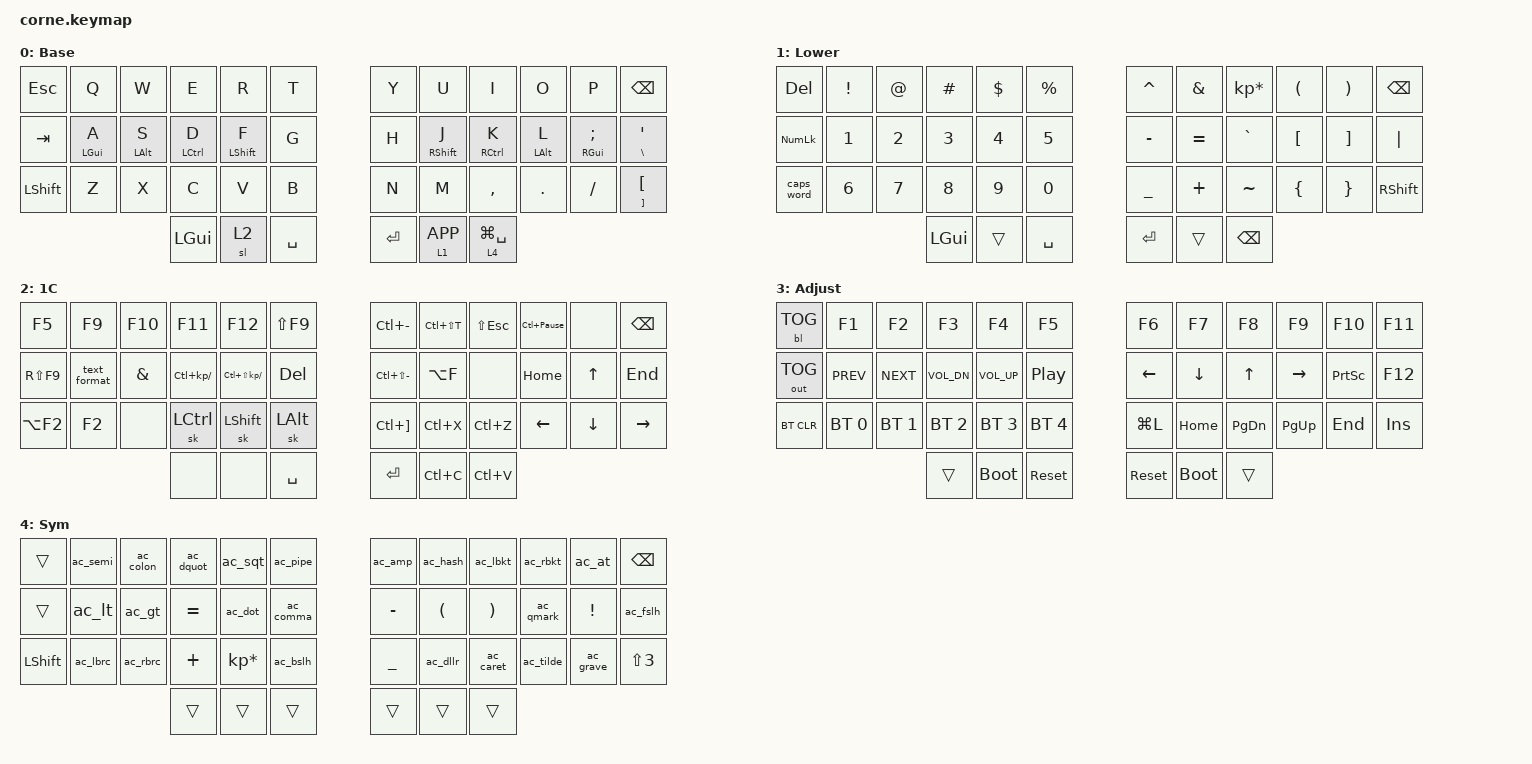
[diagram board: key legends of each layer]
/*
 * Corne 3x6+3 — раскладка Гришина К.В.
 * Основа: ZMK default keymap (Copyright (c) 2020 The ZMK Contributors, SPDX: MIT).
 * Переработано 12.10.2026: home-row mods, слой русских символов, сервисный слой.
 *
 * Слои:
 *   0 BASE   — буквы
 *   1 LOWER  — цифры и символы (обычные клавиши, зависят от раскладки ОС)
 *   2 ONEC   — горячие клавиши 1С (залипающий, левый средний большой палец)
 *   3 ADJ    — F-клавиши, медиа, BT, прошивка (комбо: оба крайних больших пальца)
 *   4 SYM    — символы для BSL, одинаковые в RU и EN (Alt-коды, аналог раскладки Чистова)
 *              (удержание правого крайнего большого пальца; тап — смена языка)
 *
 * Нумерация клавиш:
 *    0  1  2  3  4  5   |   6  7  8  9 10 11
 *   12 13 14 15 16 17   |  18 19 20 21 22 23
 *   24 25 26 27 28 29   |  30 31 32 33 34 35
 *            36 37 38   |  39 40 41
 */

#include <behaviors.dtsi>
#include <dt-bindings/zmk/backlight.h>
#include <dt-bindings/zmk/bt.h>
#include <dt-bindings/zmk/keys.h>
#include <dt-bindings/zmk/outputs.h>

/ {
    behaviors {
        tp: tap_preferred {
            compatible = "zmk,behavior-hold-tap";
            #binding-cells = <2>;
            tapping-term-ms = <220>;
            quick-tap-ms = <0>;
            flavor = "tap-preferred";
            bindings = <&kp>, <&kp>;
        };

        // Home-row mods: модификатор срабатывает только если следующая клавиша
        // на другой руке (hold-trigger-key-positions) — меньше ложных срабатываний.
        hml: homerow_mods_left {
            compatible = "zmk,behavior-hold-tap";
            #binding-cells = <2>;
            flavor = "balanced";
            tapping-term-ms = <220>;
            quick-tap-ms = <150>;
            require-prior-idle-ms = <125>;
            hold-trigger-key-positions = <6 7 8 9 10 11 18 19 20 21 22 23 30 31 32 33 34 35 36 37 38 39 40 41>;
            hold-trigger-on-release;
            bindings = <&kp>, <&kp>;
        };

        hmr: homerow_mods_right {
            compatible = "zmk,behavior-hold-tap";
            #binding-cells = <2>;
            flavor = "balanced";
            tapping-term-ms = <220>;
            quick-tap-ms = <150>;
            require-prior-idle-ms = <125>;
            hold-trigger-key-positions = <0 1 2 3 4 5 12 13 14 15 16 17 24 25 26 27 28 29 36 37 38 39 40 41>;
            hold-trigger-on-release;
            bindings = <&kp>, <&kp>;
        };
    };

    combos {
        compatible = "zmk,combos";

        // Оба крайних больших пальца — сервисный слой
        adj {
            bindings = <&mo 3>;
            key-positions = <36 41>;
            timeout-ms = <40>;
        };
    };

    macros {
        // Alt+Shift+F — форматирование в конфигураторе
        text_format: text_format {
            compatible = "zmk,behavior-macro";
            #binding-cells = <0>;
            bindings =
                <&macro_press>,
                <&kp LEFT_SHIFT &kp LEFT_ALT>,
                <&macro_tap>,
                <&kp F>,
                <&macro_release>,
                <&kp LEFT_ALT &kp LEFT_SHIFT>;
        };

        // < — Alt+060 на цифровом блоке (любая раскладка, нужен NumLock)
        ac_lt: ac_lt {
            compatible = "zmk,behavior-macro";
            #binding-cells = <0>;
            wait-ms = <10>;
            tap-ms = <10>;
            bindings = <&macro_press &kp LALT>, <&macro_tap &kp KP_N0 &kp KP_N6 &kp KP_N0>, <&macro_release &kp LALT>;
        };
        // > — Alt+062 на цифровом блоке (любая раскладка, нужен NumLock)
        ac_gt: ac_gt {
            compatible = "zmk,behavior-macro";
            #binding-cells = <0>;
            wait-ms = <10>;
            tap-ms = <10>;
            bindings = <&macro_press &kp LALT>, <&macro_tap &kp KP_N0 &kp KP_N6 &kp KP_N2>, <&macro_release &kp LALT>;
        };
        // | — Alt+124 на цифровом блоке (любая раскладка, нужен NumLock)
        ac_pipe: ac_pipe {
            compatible = "zmk,behavior-macro";
            #binding-cells = <0>;
            wait-ms = <10>;
            tap-ms = <10>;
            bindings = <&macro_press &kp LALT>, <&macro_tap &kp KP_N1 &kp KP_N2 &kp KP_N4>, <&macro_release &kp LALT>;
        };
        // & — Alt+038 на цифровом блоке (любая раскладка, нужен NumLock)
        ac_amp: ac_amp {
            compatible = "zmk,behavior-macro";
            #binding-cells = <0>;
            wait-ms = <10>;
            tap-ms = <10>;
            bindings = <&macro_press &kp LALT>, <&macro_tap &kp KP_N0 &kp KP_N3 &kp KP_N8>, <&macro_release &kp LALT>;
        };
        // # — Alt+035 на цифровом блоке (любая раскладка, нужен NumLock)
        ac_hash: ac_hash {
            compatible = "zmk,behavior-macro";
            #binding-cells = <0>;
            wait-ms = <10>;
            tap-ms = <10>;
            bindings = <&macro_press &kp LALT>, <&macro_tap &kp KP_N0 &kp KP_N3 &kp KP_N5>, <&macro_release &kp LALT>;
        };
        // [ — Alt+091 на цифровом блоке (любая раскладка, нужен NumLock)
        ac_lbkt: ac_lbkt {
            compatible = "zmk,behavior-macro";
            #binding-cells = <0>;
            wait-ms = <10>;
            tap-ms = <10>;
            bindings = <&macro_press &kp LALT>, <&macro_tap &kp KP_N0 &kp KP_N9 &kp KP_N1>, <&macro_release &kp LALT>;
        };
        // ] — Alt+093 на цифровом блоке (любая раскладка, нужен NumLock)
        ac_rbkt: ac_rbkt {
            compatible = "zmk,behavior-macro";
            #binding-cells = <0>;
            wait-ms = <10>;
            tap-ms = <10>;
            bindings = <&macro_press &kp LALT>, <&macro_tap &kp KP_N0 &kp KP_N9 &kp KP_N3>, <&macro_release &kp LALT>;
        };
        // { — Alt+123 на цифровом блоке (любая раскладка, нужен NumLock)
        ac_lbrc: ac_lbrc {
            compatible = "zmk,behavior-macro";
            #binding-cells = <0>;
            wait-ms = <10>;
            tap-ms = <10>;
            bindings = <&macro_press &kp LALT>, <&macro_tap &kp KP_N1 &kp KP_N2 &kp KP_N3>, <&macro_release &kp LALT>;
        };
        // } — Alt+125 на цифровом блоке (любая раскладка, нужен NumLock)
        ac_rbrc: ac_rbrc {
            compatible = "zmk,behavior-macro";
            #binding-cells = <0>;
            wait-ms = <10>;
            tap-ms = <10>;
            bindings = <&macro_press &kp LALT>, <&macro_tap &kp KP_N1 &kp KP_N2 &kp KP_N5>, <&macro_release &kp LALT>;
        };
        // ' — Alt+039 на цифровом блоке (любая раскладка, нужен NumLock)
        ac_sqt: ac_sqt {
            compatible = "zmk,behavior-macro";
            #binding-cells = <0>;
            wait-ms = <10>;
            tap-ms = <10>;
            bindings = <&macro_press &kp LALT>, <&macro_tap &kp KP_N0 &kp KP_N3 &kp KP_N9>, <&macro_release &kp LALT>;
        };
        // @ — Alt+064 на цифровом блоке (любая раскладка, нужен NumLock)
        ac_at: ac_at {
            compatible = "zmk,behavior-macro";
            #binding-cells = <0>;
            wait-ms = <10>;
            tap-ms = <10>;
            bindings = <&macro_press &kp LALT>, <&macro_tap &kp KP_N0 &kp KP_N6 &kp KP_N4>, <&macro_release &kp LALT>;
        };
        // $ — Alt+036 на цифровом блоке (любая раскладка, нужен NumLock)
        ac_dllr: ac_dllr {
            compatible = "zmk,behavior-macro";
            #binding-cells = <0>;
            wait-ms = <10>;
            tap-ms = <10>;
            bindings = <&macro_press &kp LALT>, <&macro_tap &kp KP_N0 &kp KP_N3 &kp KP_N6>, <&macro_release &kp LALT>;
        };
        // ^ — Alt+094 на цифровом блоке (любая раскладка, нужен NumLock)
        ac_caret: ac_caret {
            compatible = "zmk,behavior-macro";
            #binding-cells = <0>;
            wait-ms = <10>;
            tap-ms = <10>;
            bindings = <&macro_press &kp LALT>, <&macro_tap &kp KP_N0 &kp KP_N9 &kp KP_N4>, <&macro_release &kp LALT>;
        };
        // ~ — Alt+126 на цифровом блоке (любая раскладка, нужен NumLock)
        ac_tilde: ac_tilde {
            compatible = "zmk,behavior-macro";
            #binding-cells = <0>;
            wait-ms = <10>;
            tap-ms = <10>;
            bindings = <&macro_press &kp LALT>, <&macro_tap &kp KP_N1 &kp KP_N2 &kp KP_N6>, <&macro_release &kp LALT>;
        };
        // ` — Alt+096 на цифровом блоке (любая раскладка, нужен NumLock)
        ac_grave: ac_grave {
            compatible = "zmk,behavior-macro";
            #binding-cells = <0>;
            wait-ms = <10>;
            tap-ms = <10>;
            bindings = <&macro_press &kp LALT>, <&macro_tap &kp KP_N0 &kp KP_N9 &kp KP_N6>, <&macro_release &kp LALT>;
        };
        // ; — Alt+059 на цифровом блоке (любая раскладка, нужен NumLock)
        ac_semi: ac_semi {
            compatible = "zmk,behavior-macro";
            #binding-cells = <0>;
            wait-ms = <10>;
            tap-ms = <10>;
            bindings = <&macro_press &kp LALT>, <&macro_tap &kp KP_N0 &kp KP_N5 &kp KP_N9>, <&macro_release &kp LALT>;
        };
        // : — Alt+058 на цифровом блоке (любая раскладка, нужен NumLock)
        ac_colon: ac_colon {
            compatible = "zmk,behavior-macro";
            #binding-cells = <0>;
            wait-ms = <10>;
            tap-ms = <10>;
            bindings = <&macro_press &kp LALT>, <&macro_tap &kp KP_N0 &kp KP_N5 &kp KP_N8>, <&macro_release &kp LALT>;
        };
        // " — Alt+034 на цифровом блоке (любая раскладка, нужен NumLock)
        ac_dquot: ac_dquot {
            compatible = "zmk,behavior-macro";
            #binding-cells = <0>;
            wait-ms = <10>;
            tap-ms = <10>;
            bindings = <&macro_press &kp LALT>, <&macro_tap &kp KP_N0 &kp KP_N3 &kp KP_N4>, <&macro_release &kp LALT>;
        };
        // . — Alt+046 на цифровом блоке (любая раскладка, нужен NumLock)
        ac_dot: ac_dot {
            compatible = "zmk,behavior-macro";
            #binding-cells = <0>;
            wait-ms = <10>;
            tap-ms = <10>;
            bindings = <&macro_press &kp LALT>, <&macro_tap &kp KP_N0 &kp KP_N4 &kp KP_N6>, <&macro_release &kp LALT>;
        };
        // , — Alt+044 на цифровом блоке (любая раскладка, нужен NumLock)
        ac_comma: ac_comma {
            compatible = "zmk,behavior-macro";
            #binding-cells = <0>;
            wait-ms = <10>;
            tap-ms = <10>;
            bindings = <&macro_press &kp LALT>, <&macro_tap &kp KP_N0 &kp KP_N4 &kp KP_N4>, <&macro_release &kp LALT>;
        };
        // ? — Alt+063 на цифровом блоке (любая раскладка, нужен NumLock)
        ac_qmark: ac_qmark {
            compatible = "zmk,behavior-macro";
            #binding-cells = <0>;
            wait-ms = <10>;
            tap-ms = <10>;
            bindings = <&macro_press &kp LALT>, <&macro_tap &kp KP_N0 &kp KP_N6 &kp KP_N3>, <&macro_release &kp LALT>;
        };
        // / — Alt+047 на цифровом блоке (любая раскладка, нужен NumLock)
        ac_fslh: ac_fslh {
            compatible = "zmk,behavior-macro";
            #binding-cells = <0>;
            wait-ms = <10>;
            tap-ms = <10>;
            bindings = <&macro_press &kp LALT>, <&macro_tap &kp KP_N0 &kp KP_N4 &kp KP_N7>, <&macro_release &kp LALT>;
        };
        // \ — Alt+092 на цифровом блоке (любая раскладка, нужен NumLock)
        ac_bslh: ac_bslh {
            compatible = "zmk,behavior-macro";
            #binding-cells = <0>;
            wait-ms = <10>;
            tap-ms = <10>;
            bindings = <&macro_press &kp LALT>, <&macro_tap &kp KP_N0 &kp KP_N9 &kp KP_N2>, <&macro_release &kp LALT>;
        };
    };

    keymap {
        compatible = "zmk,keymap";

        default_layer {
            display-name = "Base";
            // | ESC  |  Q   |  W   |  E   |  R   |  T  |   |  Y  |  U   |  I   |  O   |  P   | BSPC     |
            // | TAB  | A/Gu | S/Al | D/Ct | F/Sh |  G  |   |  H  | J/Sh | K/Ct | L/Al | ;/Gu | '  (h:\) |
            // | SHFT |  Z   |  X   |  C   |  V   |  B  |   |  N  |  M   |  ,   |  .   |  /   | [  (h:]) |
            //                      | GUI  | 1С*  | SPC |   | RET | LWR/Menu | RUSYM/Язык |
            bindings = <
&kp ESC    &kp Q          &kp W          &kp E           &kp R           &kp T        &kp Y    &kp U                &kp I            &kp O           &kp P            &kp BSPC
&kp TAB    &hml LGUI A    &hml LALT S    &hml LCTRL D    &hml LSHFT F    &kp G        &kp H    &hmr RSHFT J         &hmr RCTRL K     &hmr LALT L     &hmr RGUI SEMI   &tp BSLH SQT
&kp LSHFT  &kp Z          &kp X          &kp C           &kp V           &kp B        &kp N    &kp M                &kp COMMA        &kp DOT         &kp FSLH         &tp RBKT LBKT
                                         &kp LGUI        &sl 2        &kp SPACE    &kp RET  &lt 1 K_APP      &lt 4 LG(SPACE)
            >;
        };

        layer_below {
            display-name = "Lower";
            // Обычные клавиши: в EN — символы как на схеме, в RU — как в русской раскладке
            // (например, & в RU даёт ?, @ даёт ", $ даёт ;).
            // | DEL  |  !  |  @  |  #  |  $  |  %  |   |  ^  |  &  |  *  |  (  |  )  | BSPC  |
            // | NUM  |  1  |  2  |  3  |  4  |  5  |   |  -  |  =  |  `  |  [  |  ]  |  \|   |
            // | CAPW |  6  |  7  |  8  |  9  |  0  |   |  _  |  +  |  ~  |  {  |  }  | RSHFT |
            //                    | GUI |     | SPC |   | RET |     | BSPC |
            bindings = <
&kp DELETE   &kp EXCL  &kp AT  &kp HASH  &kp DLLR  &kp PRCNT    &kp CARET  &kp AMPS   &kp KP_MULTIPLY  &kp LPAR  &kp RPAR  &kp BSPC
&kp KP_NUM   &kp N1    &kp N2  &kp N3    &kp N4    &kp N5       &kp MINUS  &kp EQUAL  &kp GRAVE        &kp LBKT  &kp RBKT  &kp PIPE
&caps_word   &kp N6    &kp N7  &kp N8    &kp N9    &kp N0       &kp UNDER  &kp PLUS   &kp TILDE        &kp LBRC  &kp RBRC  &kp RSHFT
                               &kp LGUI  &trans    &kp SPACE    &kp RET    &trans     &kp BSPC
            >;
        };

        layer_1c {
            display-name = "1C";
            // | F5    | F9     | F10   | F11   | F12     | S-F9 |   | C--    | C-S-T | S-Esc | C-Brk |      | BSPC |
            // | S-F9  | Формат |   &   | C-/   | C-S-/   | DEL  |   | C-S--  | A-F   |       | HOME  |  ↑   | END  |
            // | A-F2  | F2     |       | Ctrl* | Shift*  | Alt* |   | C-]    | C-X   | C-Z   |  ←    |  ↓   |  →   |
            //                          |       |  (сам)  | SPC  |   | RET    | C-C   | C-V   |
            // * — залипающие модификаторы: тап 1С, тап Ctrl, затем буква = Ctrl+буква
            bindings = <
&kp F5      &kp F9        &kp F10        &kp F11           &kp F12                &kp LS(F9)      &kp LC(MINUS)          &kp LC(LS(T))  &kp LS(ESCAPE)  &kp LC(PAUSE_BREAK)  &none           &kp BSPC
&kp RS(F9)  &text_format  &kp AMPERSAND  &kp LC(KP_SLASH)  &kp LC(LS(KP_DIVIDE))  &kp DEL         &kp LC(LS(MINUS))      &kp LA(F)      &none           &kp HOME             &kp UP_ARROW    &kp END
&kp LA(F2)  &kp F2        &none          &sk LCTRL         &sk LSHFT              &sk LALT        &kp LC(RIGHT_BRACKET)  &kp LC(X)      &kp LC(Z)       &kp LEFT             &kp DOWN_ARROW  &kp RIGHT_ARROW
                                         &none             &none                  &kp SPACE       &kp RET                &kp LC(C)      &kp LC(V)
            >;
        };

        layer_above {
            display-name = "Adjust";
            // | BL TOG | F1   | F2   | F3   | F4   | F5   |   | F6   | F7   | F8   | F9    | F10  | F11 |
            // | USB/BT | Prev | Next | Vol- | Vol+ | Play |   |  ←   |  ↓   |  ↑   |  →    | PrSc | F12 |
            // | BT CLR | BT1  | BT2  | BT3  | BT4  | BT5  |   | Lock | Home | PgDn | PgUp  | End  | Ins |
            //                 | (комбо) | BOOT | RESET |   | RESET | BOOT | (комбо) |
            // BOOT/RESET действуют на ту половину, где нажаты — поэтому продублированы.
            bindings = <
&bl BL_TOG   &kp F1        &kp F2        &kp F3        &kp F4        &kp F5          &kp F6         &kp F7        &kp F8     &kp F9     &kp F10    &kp F11
&out OUT_TOG &kp C_PREV    &kp C_NEXT    &kp C_VOL_DN  &kp C_VOL_UP  &kp C_PP        &kp LEFT       &kp DOWN      &kp UP     &kp RIGHT  &kp PSCRN  &kp F12
&bt BT_CLR   &bt BT_SEL 0  &bt BT_SEL 1  &bt BT_SEL 2  &bt BT_SEL 3  &bt BT_SEL 4    &kp LG(L)      &kp HOME      &kp PG_DN  &kp PG_UP  &kp END    &kp INS
                                         &trans        &bootloader   &sys_reset      &sys_reset     &bootloader   &trans
            >;
        };

        layer_rusym {
            display-name = "Sym";
            // Символы для BSL, одинаковые в RU и EN (Alt-коды, нужен NumLock).
            // Исключение: № — только при русской раскладке.
            // |      |  ;  |  :  |  "  |  '  |  |  |   |  &  |  #  |  [  |  ]  |  @  | BSPC |
            // |      |  <  |  >  |  =  |  .  |  ,  |   |  -  |  (  |  )  |  ?  |  !  |  /   |
            // | SHFT |  {  |  }  |  +  |  *  |  \  |   |  _  |  $  |  ^  |  ~  |  `  |  №   |
            //                    |     |     |     |   |     |     | (сам) |
            bindings = <
&trans     &ac_semi  &ac_colon  &ac_dquot  &ac_sqt          &ac_pipe     &ac_amp    &ac_hash   &ac_lbkt   &ac_rbkt   &ac_at     &kp BSPC
&trans     &ac_lt    &ac_gt     &kp EQUAL  &ac_dot          &ac_comma    &kp MINUS  &kp LPAR   &kp RPAR   &ac_qmark  &kp EXCL   &ac_fslh
&kp LSHFT  &ac_lbrc  &ac_rbrc   &kp PLUS   &kp KP_MULTIPLY  &ac_bslh     &kp UNDER  &ac_dllr   &ac_caret  &ac_tilde  &ac_grave  &kp LS(N3)
                                &trans     &trans           &trans       &trans     &trans     &trans
            >;
        };
    };
};
